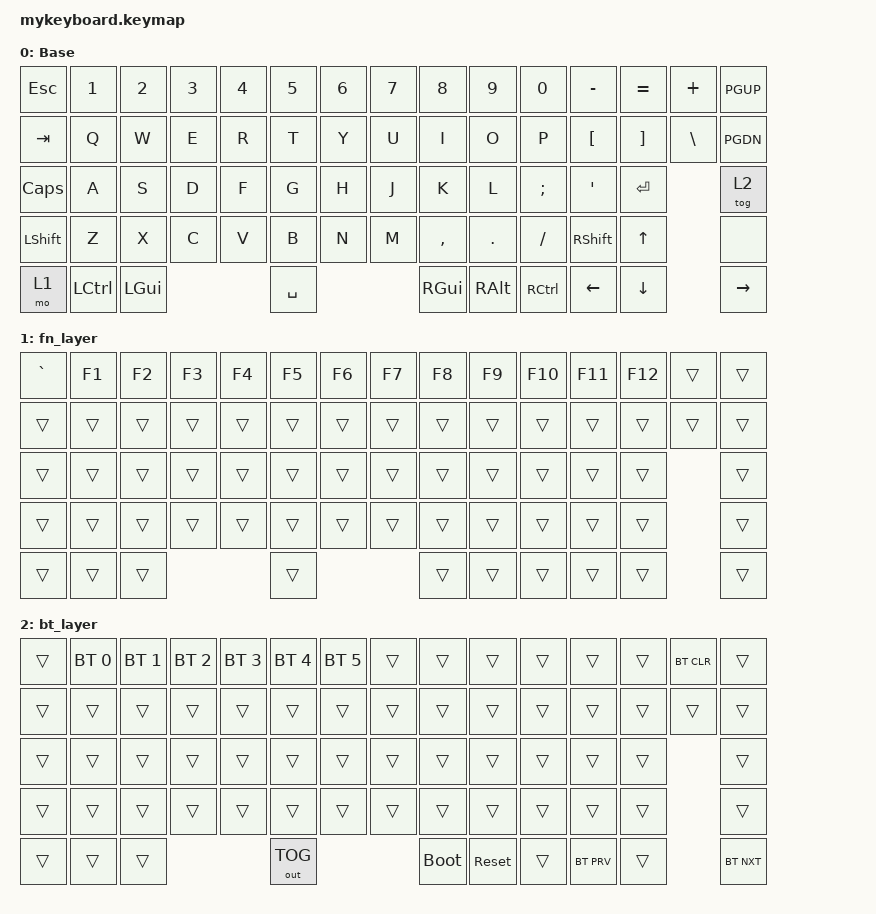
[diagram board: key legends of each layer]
#include <behaviors.dtsi>
#include <dt-bindings/zmk/keys.h>
#include <dt-bindings/zmk/bt.h>
#include <dt-bindings/zmk/outputs.h>

/ {
    // Everything else goes here!
    
    keymap {
        compatible = "zmk,keymap";

        default_layer { // Layer 0
            display-name = "Base";
                // ----------------------------------------------
                // | ESC |  1  |  2  |  3  |  4  |  5  |  6  |  7  |  8  |  9  |  0  |  -  |  =     | BSPC | PGUP |
                // | TAB |  Q  |  W  |  E  |  R  |  T  |  Y  |  U  |  I  |  O  |  P  |  [  |  ]     |  \   | PGDN |
                // | CAPS|  A  |  S  |  D  |  F  |  G  |  H  |  J  |  K  |  L  |  ;  |  '  | ENTER  |      |   BT |
                // | LSFT|  Z  |  X  |  C  |  V  |  B  |  N  |  M  |  ,  |  .  |  /  | RSFT| UP     |      | none |
                // | FN| LCTL| LGUI/command|     |     |SPACE|     |     | RGUI| RALT| RCTL| LEFT   | DOWN | RIGHT|

            bindings = <
                &kp ESC     &kp 1     &kp 2     &kp 3     &kp 4     &kp 5     &kp 6     &kp 7     &kp 8     &kp 9     &kp 0     &kp MINUS   &kp EQUAL   &kp PLUS    &kp PGUP
                &kp TAB     &kp Q     &kp W     &kp E     &kp R     &kp T     &kp Y     &kp U     &kp I     &kp O     &kp P     &kp LBKT    &kp RBKT    &kp BACKSLASH    &kp PGDN
                &kp CAPS    &kp A     &kp S     &kp D     &kp F     &kp G     &kp H     &kp J     &kp K     &kp L     &kp SEMI  &kp SQT     &kp ENTER               &tog 2
                &kp LSHFT   &kp Z     &kp X     &kp C     &kp V     &kp B     &kp N     &kp M     &kp COMMA &kp DOT   &kp FSLH  &kp RSHFT   &kp UP                  &none     
                &mo 1       &kp LCTL  &kp LGUI                      &kp SPACE                     &kp RGUI  &kp RALT  &kp RCTRL &kp LEFT    &kp DOWN                &kp RIGHT
            >;
        };

        fn_layer {
            // ==========================================================
            // Fn Layer (Layer 1) – Mac-friendly F-keys + media
            //
            // Row 0: |  `  | F1 | F2 | F3 | F4 | F5 | F6 | F7 | F8 | F9 | F10 | F11 | F12 | --- | --- |
            // Row 1+: all other keys are transparent unless customized
            // ==========================================================

            bindings = <
                &kp GRAVE   &kp F1    &kp F2    &kp F3    &kp F4    &kp F5    &kp F6    &kp F7    &kp F8    &kp F9    &kp F10   &kp F11   &kp F12    &trans      &trans
                &trans      &trans    &trans    &trans    &trans    &trans    &trans    &trans    &trans    &trans    &trans    &trans    &trans     &trans      &trans
                &trans      &trans    &trans    &trans    &trans    &trans    &trans    &trans    &trans    &trans    &trans    &trans    &trans                 &trans
                &trans      &trans    &trans    &trans    &trans    &trans    &trans    &trans    &trans    &trans    &trans    &trans    &trans                 &trans
                &trans      &trans    &trans                        &trans                        &trans    &trans    &trans    &trans    &trans                 &trans
            >;
        };

        bt_layer {
                // ----------------------------------------------
                // |reset| sel0| sel1| sel2| sel3| sel4| sel5|     |     |     |     |     |     | clr |      |
                // |     |     |     |     |     |     |     |     |     |     |     |     |     |     | PGDN |
                // |     |     |     |     |     |     |     |     |     |     |     |     |     |     |   BT |
                // |     |     |     |     |     |     |     |     |     |     |     |     |     |     |   UP |
                // |     |     |     |  toggle usb and bluetooth   | bootloader |     |     |     | prev|     | next | 

            bindings = <
                &trans      &bt BT_SEL 0    &bt BT_SEL 1    &bt BT_SEL 2    &bt BT_SEL 3    &bt BT_SEL 4    &bt BT_SEL 5    &trans    &trans        &trans    &trans    &trans      &trans     &bt BT_CLR  &trans
                &trans      &trans          &trans          &trans          &trans          &trans          &trans          &trans    &trans        &trans    &trans    &trans      &trans     &trans      &trans
                &trans      &trans          &trans          &trans          &trans          &trans          &trans          &trans    &trans        &trans    &trans    &trans      &trans                 &trans
                &trans      &trans          &trans          &trans          &trans          &trans          &trans          &trans    &trans        &trans    &trans    &trans      &trans                 &trans
                &trans      &trans          &trans                                          &out OUT_TOG                              &bootloader   &sys_reset    &trans    &bt BT_PRV  &trans                 &bt BT_NXT
            >;
        };

    };

};

